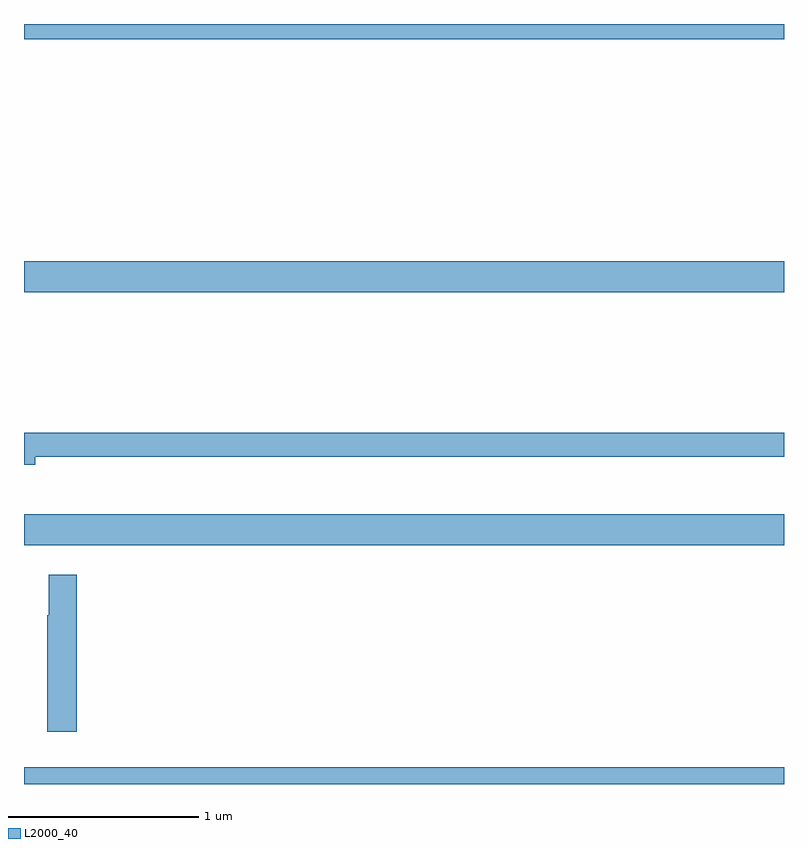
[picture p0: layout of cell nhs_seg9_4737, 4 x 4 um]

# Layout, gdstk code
import gdstk
lib = gdstk.Library(unit=1e-6, precision=1e-09)
def R(c, l, rs):  # rectangles x0, y0, x1, y1
    for r in rs: c.add(gdstk.rectangle(r[:2], r[2:], *l))
def P(c, l, *ps):  # polygons
    for p in ps: c.add(gdstk.Polygon(p, *l))
L2000_40 = (2000, 40)

nhs_seg9_4737 = lib.new_cell('nhs_seg9_4737')
R(nhs_seg9_4737, L2000_40, [(385,1192.5,389,1192.588), (385,1193.756,389,1193.92), (385,1195.088,389,1195.252), (385,1196.42,389,1196.5)])
P(nhs_seg9_4737, L2000_40, [(385.06,1194.222),(389,1194.222),(389,1194.35),(385,1194.35),(385,1194.179),(385.06,1194.179)],
  [(385.277,1193.602),(385.13,1193.602),(385.13,1193.389),(385.123,1193.389),(385.123,1192.776),(385.277,1192.776)])

lib.write_gds('nhs_seg9_4737.gds')
